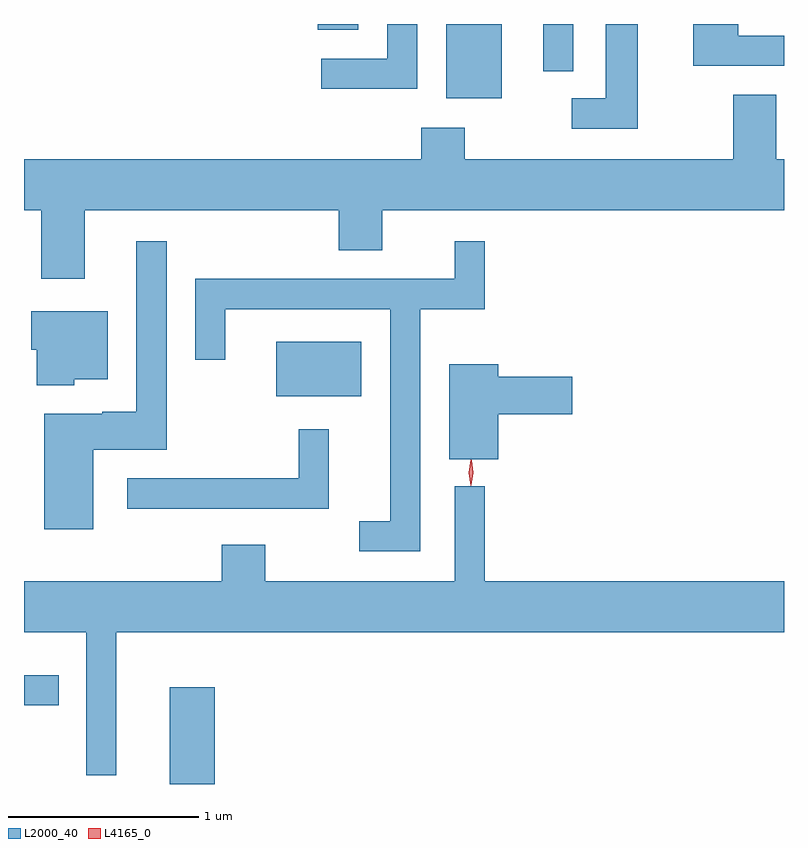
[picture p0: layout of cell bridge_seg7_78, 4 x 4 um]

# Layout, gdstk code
import gdstk
lib = gdstk.Library(unit=1e-6, precision=1e-09)
def R(c, l, rs):  # rectangles x0, y0, x1, y1
    for r in rs: c.add(gdstk.rectangle(r[:2], r[2:], *l))
def P(c, l, *ps):  # polygons
    for p in ps: c.add(gdstk.Polygon(p, *l))
L2000_40 = (2000, 40)
L4165_0 = (4165, 0)

bridge_seg7_78 = lib.new_cell('bridge_seg7_78')
R(bridge_seg7_78, L2000_40, [(1548.366,1749.036,1548.604,1749.544), (1547.599,1749.451,1547.783,1749.609), (1548.926,1751.076,1549.374,1751.364), (1549.821,1752.646,1550.114,1753.036), (1550.331,1752.788,1550.489,1753.036), (1549.146,1753.006,1549.359,1753.036)])
P(bridge_seg7_78, L2000_40, [(1551.599,1752.974),(1551.359,1752.974),(1551.359,1753.036),(1551.121,1753.036),(1551.121,1752.816),(1551.599,1752.816)],
  [(1550.829,1753.036),(1550.661,1753.036),(1550.661,1752.644),(1550.483,1752.644),(1550.483,1752.486),(1550.829,1752.486)],
  [(1549.669,1753.036),(1549.511,1753.036),(1549.511,1752.854),(1549.163,1752.854),(1549.163,1752.696),(1549.669,1752.696)],
  [(1547.919,1752.056),(1549.256,1752.056),(1549.256,1751.846),(1549.484,1751.846),(1549.484,1752.056),(1551.599,1752.056),(1551.599,1752.324),(1551.559,1752.324),(1551.559,1752.664),(1551.331,1752.664),(1551.331,1752.324),(1549.919,1752.324),(1549.919,1752.489),(1549.691,1752.489),(1549.691,1752.324),(1547.599,1752.324),(1547.599,1752.056),(1547.691,1752.056),(1547.691,1751.696),(1547.919,1751.696)],
  [(1547.964,1750.796),(1548.349,1750.796),(1548.349,1751.893),(1548.191,1751.893),(1548.191,1750.994),(1548.01,1750.994),(1548.01,1750.984),(1547.706,1750.984),(1547.706,1750.376),(1547.964,1750.376)],
  [(1549.684,1751.536),(1550.024,1751.536),(1550.024,1751.893),(1549.866,1751.893),(1549.866,1751.694),(1548.501,1751.694),(1548.501,1751.268),(1548.659,1751.268),(1548.659,1751.536),(1549.526,1751.536),(1549.526,1750.419),(1549.363,1750.419),(1549.363,1750.261),(1549.684,1750.261)],
  [(1547.864,1751.166),(1548.039,1751.166),(1548.039,1751.524),(1547.636,1751.524),(1547.636,1751.321),(1547.666,1751.321),(1547.666,1751.136),(1547.864,1751.136)],
  [(1550.094,1750.981),(1550.484,1750.981),(1550.484,1751.179),(1550.094,1751.179),(1550.094,1751.244),(1549.836,1751.244),(1549.836,1750.746),(1550.094,1750.746)],
  [(1549.204,1750.903),(1549.046,1750.903),(1549.046,1750.644),(1548.143,1750.644),(1548.143,1750.486),(1549.204,1750.486)],
  [(1548.084,1749.836),(1551.599,1749.836),(1551.599,1750.104),(1550.024,1750.104),(1550.024,1750.603),(1549.866,1750.603),(1549.866,1750.104),(1548.869,1750.104),(1548.869,1750.294),(1548.641,1750.294),(1548.641,1750.104),(1547.599,1750.104),(1547.599,1749.836),(1547.926,1749.836),(1547.926,1749.083),(1548.084,1749.083)])
P(bridge_seg7_78, L4165_0, [(1549.949,1750.605),(1549.949,1750.605),(1549.94,1750.674),(1549.951,1750.742),(1549.952,1750.742),(1549.952,1750.742),(1549.96,1750.673),(1549.95,1750.605)],
  [(1549.951,1750.608),(1549.943,1750.674),(1549.954,1750.739),(1549.954,1750.74),(1549.955,1750.739),(1549.963,1750.674),(1549.952,1750.608),(1549.952,1750.608)])

lib.write_gds('bridge_seg7_78.gds')
